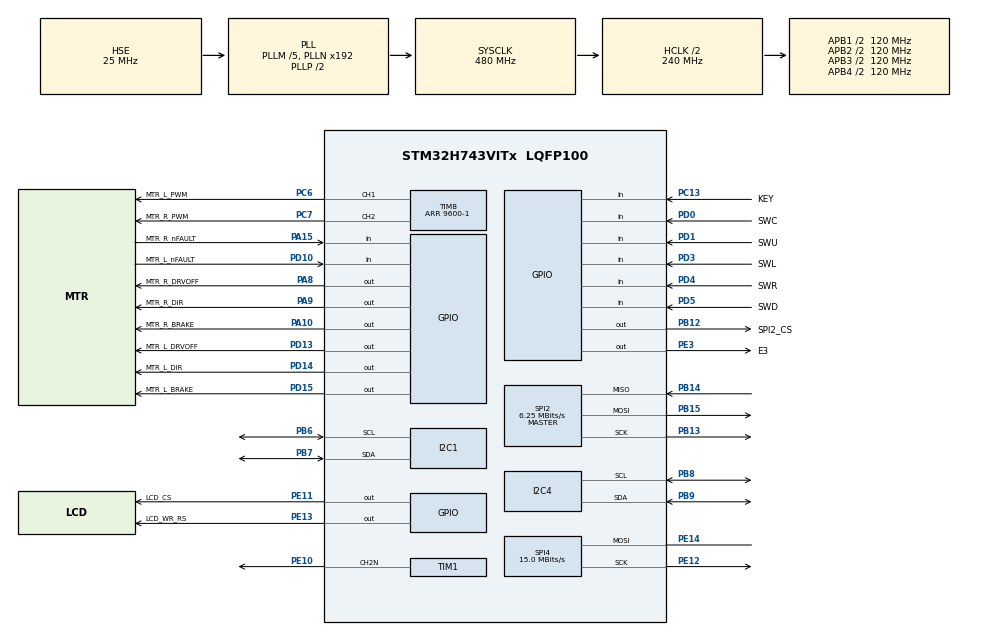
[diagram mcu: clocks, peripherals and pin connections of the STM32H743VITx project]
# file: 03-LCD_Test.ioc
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I2C1.Timing=0x307075B1
I2C4.Timing=0x307075B1
Mcu.Family=STM32H7
Mcu.Name=STM32H743VITx
Mcu.Package=LQFP100
NVIC.PriorityGroup=NVIC_PRIORITYGROUP_4
PA10.GPIO_Label=MTR_R_BRAKE
PA10.Signal=GPIO_Output
PA13\ (JTMS/SWDIO).Mode=Serial_Wire
PA13\ (JTMS/SWDIO).Signal=DEBUG_JTMS-SWDIO
PA14\ (JTCK/SWCLK).Mode=Serial_Wire
PA14\ (JTCK/SWCLK).Signal=DEBUG_JTCK-SWCLK
PA15\ (JTDI).GPIO_Label=MTR_R_nFAULT
PA15\ (JTDI).GPIO_PuPd=GPIO_PULLUP
PA15\ (JTDI).Signal=GPIO_Input
PA8.GPIO_Label=MTR_R_DRVOFF
PA8.Signal=GPIO_Output
PA9.GPIO_Label=MTR_R_DIR
PA9.Signal=GPIO_Output
PB12.GPIO_Label=SPI2_CS
PB12.Signal=GPIO_Output
PB13.Mode=Full_Duplex_Master
PB13.Signal=SPI2_SCK
PB14.Mode=Full_Duplex_Master
PB14.Signal=SPI2_MISO
PB15.Mode=Full_Duplex_Master
PB15.Signal=SPI2_MOSI
PB6.Mode=I2C
PB6.Signal=I2C1_SCL
PB7.Mode=I2C
PB7.Signal=I2C1_SDA
PB8.Mode=I2C
PB8.Signal=I2C4_SCL
PB9.Mode=I2C
PB9.Signal=I2C4_SDA
PC13.GPIO_Label=KEY
PC13.GPIO_PuPd=GPIO_PULLDOWN
PC13.Signal=GPIO_Input
PC14-OSC32_IN\ (OSC32_IN).Mode=LSE-External-Oscillator
PC14-OSC32_IN\ (OSC32_IN).Signal=RCC_OSC32_IN
PC15-OSC32_OUT\ (OSC32_OUT).Mode=LSE-External-Oscillator
PC15-OSC32_OUT\ (OSC32_OUT).Signal=RCC_OSC32_OUT
PC6.GPIO_Label=MTR_L_PWM
PC6.Signal=S_TIM8_CH1
PC7.GPIO_Label=MTR_R_PWM
PC7.Signal=S_TIM8_CH2
PD0.GPIO_Label=SWC
PD0.Signal=GPIO_Input
PD1.GPIO_Label=SWU
PD1.Signal=GPIO_Input
PD10.GPIO_Label=MTR_L_nFAULT
PD10.GPIO_PuPd=GPIO_PULLUP
PD10.Signal=GPIO_Input
PD13.GPIO_Label=MTR_L_DRVOFF
PD13.Signal=GPIO_Output
PD14.GPIO_Label=MTR_L_DIR
PD14.Signal=GPIO_Output
PD15.GPIO_Label=MTR_L_BRAKE
PD15.Signal=GPIO_Output
PD3.GPIO_Label=SWL
PD3.Signal=GPIO_Input
PD4.GPIO_Label=SWR
PD4.Signal=GPIO_Input
PD5.GPIO_Label=SWD
PD5.Signal=GPIO_Input
PE10.Mode=PWM Generation2 CH2N
PE10.Signal=TIM1_CH2N
PE11.GPIO_Label=LCD_CS
PE11.GPIO_Speed=GPIO_SPEED_FREQ_VERY_HIGH
PE11.PinState=GPIO_PIN_SET
PE11.Signal=GPIO_Output
PE12.GPIO_Speed=GPIO_SPEED_FREQ_HIGH
PE12.Mode=Simplex_Bidirectional_Master
PE12.Signal=SPI4_SCK
PE13.GPIO_Label=LCD_WR_RS
PE13.GPIO_Speed=GPIO_SPEED_FREQ_VERY_HIGH
PE13.PinState=GPIO_PIN_SET
PE13.Signal=GPIO_Output
PE14.GPIO_Speed=GPIO_SPEED_FREQ_HIGH
PE14.Mode=Simplex_Bidirectional_Master
PE14.Signal=SPI4_MOSI
PE3.GPIO_Label=E3
PE3.PinState=GPIO_PIN_RESET
PE3.Signal=GPIO_Output
PH0-OSC_IN\ (PH0).Mode=HSE-External-Oscillator
PH0-OSC_IN\ (PH0).Signal=RCC_OSC_IN
PH1-OSC_OUT\ (PH1).Mode=HSE-External-Oscillator
PH1-OSC_OUT\ (PH1).Signal=RCC_OSC_OUT
ProjectManager.HeapSize=0x200
ProjectManager.StackSize=0x400
ProjectManager.TargetToolchain=STM32CubeIDE
RCC.ADCFreq_Value=100000000
RCC.APB1Freq_Value=120000000
RCC.APB2Freq_Value=120000000
RCC.APB3Freq_Value=120000000
RCC.APB4Freq_Value=120000000
RCC.CortexFreq_Value=480000000
RCC.D1PPRE=RCC_APB3_DIV2
RCC.D2PPRE1=RCC_APB1_DIV2
RCC.D2PPRE2=RCC_APB2_DIV2
RCC.D3PPRE=RCC_APB4_DIV2
RCC.DIVM1=5
RCC.DIVM2=5
RCC.DIVN1=192
RCC.DIVN2=40
RCC.DIVQ2=1
RCC.HCLKFreq_Value=240000000
RCC.HPRE=RCC_HCLK_DIV2
RCC.HSE_VALUE=25000000
RCC.LSE_Timout=500
RCC.PLLFRACN=0
RCC.PLLSourceVirtual=RCC_PLLSOURCE_HSE
RCC.PWR_Regulator_Voltage_Scale=PWR_REGULATOR_VOLTAGE_SCALE0
RCC.RCC_TIM_PRescaler_Selection=RCC_TIMPRES_DESACTIVATED
RCC.RTCClockSelection=RCC_RTCCLKSOURCE_LSE
RCC.SPI123CLockSelection=RCC_SPI123CLKSOURCE_PLL2
RCC.SYSCLKFreq_VALUE=480000000
RCC.SYSCLKSource=RCC_SYSCLKSOURCE_PLLCLK
RCC.USBFreq_Value=480000000
SH.S_TIM8_CH1.0=TIM8_CH1,PWM Generation1 CH1
SH.S_TIM8_CH2.0=TIM8_CH2,PWM Generation2 CH2
SPI2.BaudRatePrescaler=SPI_BAUDRATEPRESCALER_16
SPI2.CalculateBaudRate=6.25 MBits/s
SPI2.DataSize=SPI_DATASIZE_8BIT
SPI2.Direction=SPI_DIRECTION_2LINES
SPI2.Mode=SPI_MODE_MASTER
SPI2.VirtualType=VM_MASTER
SPI4.BaudRatePrescaler=SPI_BAUDRATEPRESCALER_8
SPI4.CalculateBaudRate=15.0 MBits/s
SPI4.DataSize=SPI_DATASIZE_8BIT
SPI4.Direction=SPI_DIRECTION_1LINE
SPI4.Mode=SPI_MODE_MASTER
SPI4.VirtualType=VM_MASTER
TIM1.Channel-PWM\ Generation2\ CH2N=TIM_CHANNEL_2
TIM1.OCNPolarity_2=TIM_OCNPOLARITY_LOW
TIM1.Period=1000-1
TIM1.Prescaler=12-1
TIM8.AutomaticOutput=TIM_AUTOMATICOUTPUT_DISABLE
TIM8.Channel-PWM\ Generation1\ CH1=TIM_CHANNEL_1
TIM8.Channel-PWM\ Generation2\ CH2=TIM_CHANNEL_2
TIM8.Period=9600-1
VP_MEMORYMAP_VS_MEMORYMAP.Mode=CurAppReg
VP_TIM8_VS_ClockSourceINT.Mode=Internal
board=custom

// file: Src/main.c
/* USER CODE BEGIN Header */
/**
 ******************************************************************************
 * @file           : main.c
 * @brief          : Balance cube - reaction wheel flip test
 *
 *  스핀업 → 유지 → 점프(제동 또는 반전) → 자이로로 전달 임펄스 측정
 *  FLIP_MODE 매크로 하나만 바꿔서 두 방식을 비교합니다.
 ******************************************************************************
 */
/* USER CODE END Header */
#include "main.h"
#include "i2c.h"
#include "spi.h"
#include "tim.h"
#include "gpio.h"

/* USER CODE BEGIN Includes */
#include "lcd.h"
#include "lsm6ds3tr_c.h"
#include "mcf8316c.h"
#include <stdio.h>
#include <math.h>
/* USER CODE END Includes */

/* USER CODE BEGIN PD */

// ============================================================
// 실험 설정 — 여기만 바꿔가며 비교하세요
// ============================================================
#define FLIP_BRAKE          0   // 저측 단락 제동 (ΔL = Jω, 피크 토크 큼)
#define FLIP_REVERSE        1   // 역구동 반전   (ΔL = 2Jω, 영속도 구간 존재)

#define FLIP_MODE           FLIP_BRAKE   // ← 0 / 1 로 전환
//#define FLIP_MODE           FLIP_REVERSE   // ← 0 / 1 로 전환

#define SPINUP_START        20.0f   // 시동 지령 (핸드오프 임계 10%보다 위)
#define SPINUP_TARGET       55.0f   // 목표 지령
#define RAMP_STEP           5.0f    // 램프 1스텝
#define RAMP_PERIOD_MS      200     // 램프 주기
#define HANDOFF_WAIT_MS     1000    // 시동 후 클로즈드 루프 안착 대기
#define HOLD_MS             1000    // 목표 도달 후 유지 시간
#define POST_FLIP_MS        1000    // 점프 후 자이로 관측 시간

#define LOOP_PERIOD_MS      20      // 메인 루프 주기 (점프 순간 분해능)
#define LCD_PERIOD_MS       200     // LCD 갱신 주기 (SPI가 느려서 분리)

#define SPIN_DIR            0       // 0 = CW, 1 = CCW

/* USER CODE END PD */

void SystemClock_Config(void);

/* USER CODE BEGIN PFP */
typedef enum {
	ST_SPINUP = 0, ST_HANDOFF, ST_RAMP, ST_HOLD, ST_FLIP, ST_DONE
} FlipState_t;

static const char *state_name[] = { "SPINUP", "HANDOFF", "RAMP", "HOLD", "FLIP",
		"DONE" };
/* USER CODE END PFP */

/* USER CODE BEGIN 0 */
void ExitRun0Mode(void) {
}

// ------------------------------------------------------------
// 브레이크 GPIO — 실장된 채널만 제어 (L쪽 미실장)
// ------------------------------------------------------------
static void Brake_Pin_Set(GPIO_PinState s) {
	HAL_GPIO_WritePin(MTR_R_BRAKE_GPIO_Port, MTR_R_BRAKE_Pin, s);
}

// ------------------------------------------------------------
// 자이로 Z축 각속도 [dps]
//
// TODO: lsm6ds3tr_c 드라이버의 실제 함수명으로 채우세요.
//       (프로젝트마다 API가 달라 임의로 호출하지 않았습니다)
//       예) int16_t raw[3]; LSM6DS3TR_C_GetGyro(raw);
//           return raw[2] * 0.070f;   // ±2000dps 설정 시 70 mdps/LSB
//
// 이 함수를 채우기 전까지는 항상 0을 반환하므로
// LCD의 PK 값은 0으로 표시됩니다. 나머지 동작에는 영향 없습니다.
// ------------------------------------------------------------
static float Gyro_ReadZ_dps(void) {
	return 0.0f;
}

// ------------------------------------------------------------
// 점프 동작 — 두 방식 중 하나 실행
// ------------------------------------------------------------
static void Flip_Execute(void) {
#if (FLIP_MODE == FLIP_BRAKE)
	// GPIO가 가장 빠르므로 먼저, I2C 경로는 보조로
	Brake_Pin_Set(GPIO_PIN_SET);
	MCF8316C_Set_Speed(0.0f);
	MCF8316C_Brake(1);
#else
	// DIR_CHANGE_MODE_REVERSE_DRIVE 이므로 재시동 없이 역구동으로 통과한다.
	// 속도 지령 크기는 그대로 두고 방향만 뒤집는다.
	MCF8316C_SetDir(1);
	MCF8316C_Set_Speed(SPINUP_TARGET);
#endif
}
/* USER CODE END 0 */

int main(void) {

	/* MCU Configuration--------------------------------------------------------*/
	HAL_Init();
	SystemClock_Config();

	/* Initialize all configured peripherals */
	MX_GPIO_Init();
	MX_SPI4_Init();
	MX_TIM1_Init();
	MX_I2C1_Init();
	MX_SPI2_Init();
	MX_TIM8_Init();
	MX_I2C4_Init();

	/* USER CODE BEGIN 2 */
	// 제동 해제 상태로 시작 — HIGH로 떠 있으면 모터가 아예 안 돈다
	Brake_Pin_Set(GPIO_PIN_RESET);

	LCD_Test();
	HAL_Delay(500);

	char lcd_buf[32];

	// ==========================================================
	// 1. 칩 Wake-Up (SPEED 핀 HIGH 유지)
	// ==========================================================
	HAL_TIM_PWM_Start(&htim8, TIM_CHANNEL_1);
	__HAL_TIM_SET_COMPARE(&htim8, TIM_CHANNEL_1,
			__HAL_TIM_GET_AUTORELOAD(&htim8));
	HAL_Delay(100);

	ST7735_LCD_Driver.FillRect(&st7735_pObj, 0, 0, ST7735Ctx.Width,
			ST7735Ctx.Height, BLACK);

	// ==========================================================
	// 2. I2C 주소 확인 (기본 0x02 우선, 실패 시 스캔)
	// ==========================================================
	sprintf(lcd_buf, "I2C Scanning...");
	LCD_ShowString(2, 4, ST7735Ctx.Width, 16, 16, (uint8_t*) lcd_buf);

	uint8_t found_addr = MCF8316C_FindAddress();
	if (found_addr == 0) {
		sprintf(lcd_buf, "I2C Not Found!");
		LCD_ShowString(2, 22, ST7735Ctx.Width, 16, 16, (uint8_t*) lcd_buf);
		while (1)
			;
	}
	mcf_i2c_addr_8bit = found_addr;
	sprintf(lcd_buf, "Found: 0x%02X", found_addr);
	LCD_ShowString(2, 22, ST7735Ctx.Width, 16, 16, (uint8_t*) lcd_buf);
	HAL_Delay(500);

	// ==========================================================
	// 3. 레지스터 설정
	// ==========================================================
	sprintf(lcd_buf, "Configuring...");
	LCD_ShowString(2, 40, ST7735Ctx.Width, 16, 16, (uint8_t*) lcd_buf);

	MCF8316C_Clear_Faults();
	HAL_Delay(100);

	MCF8316C_Config_Manual();
	uint32_t fc1_check = MCF8316C_ReadReg32(REG_FAULT_CONFIG1);
	sprintf(lcd_buf, "FC1 %08lX", fc1_check);
	LCD_ShowString(2, 58, ST7735Ctx.Width, 16, 16, (uint8_t*) lcd_buf);
	HAL_Delay(1000);

	if (MCF8316C_ReadReg32(REG_DEVICE_CONFIG1) == 0) {
		sprintf(lcd_buf, "I2C READ FAIL!");
		LCD_ShowString(2, 58, ST7735Ctx.Width, 16, 16, (uint8_t*) lcd_buf);
		while (1)
			;
	}

	// 회전 방향을 명시적으로 고정 (반전 모드에서 기준점이 필요)
	MCF8316C_SetDir(SPIN_DIR);
	HAL_Delay(20);

	// ==========================================================
	// 4. 클로즈드 루프 활성화
	// ==========================================================
	uint32_t algo_dbg1 = MCF8316C_ReadReg32(REG_ALGO_DEBUG1);
	algo_dbg1 &= ~CLOSED_LOOP_DIS;
	MCF8316C_WriteReg32(REG_ALGO_DEBUG1, algo_dbg1);
	HAL_Delay(100);

	ST7735_LCD_Driver.FillRect(&st7735_pObj, 0, 0, ST7735Ctx.Width,
			ST7735Ctx.Height, BLACK);
	/* USER CODE END 2 */

	// ==========================================================
	// 5. 상태 머신
	// ==========================================================
	FlipState_t state = ST_SPINUP;
	float current_speed = 0.0f;

	uint32_t t_state = HAL_GetTick();   // 현재 상태 진입 시각
	uint32_t t_ramp = HAL_GetTick();    // 마지막 램프 스텝 시각
	uint32_t t_lcd = 0;                 // 마지막 LCD 갱신 시각
	uint32_t t_flip = 0;                // 점프 실행 시각

	uint32_t first_fault_c = 0;         // 처음 잡힌 컨트롤러 폴트
	uint32_t first_fault_g = 0;         // 처음 잡힌 게이트 드라이버 폴트
	float first_fault_spd = 0.0f;

	float gyro_peak = 0.0f;             // 점프 후 자이로 피크 [dps]

	/* Infinite loop */
	/* USER CODE BEGIN WHILE */
	while (1) {
		uint32_t now = HAL_GetTick();

		// ---------- 상태 전이 ----------
		switch (state) {

		case ST_SPINUP:
			// 고정 지령으로 시동을 건다 (여기서 지령을 흔들면 정렬이 리셋됨)
			current_speed = SPINUP_START;
			MCF8316C_Set_Speed(current_speed);
			state = ST_HANDOFF;
			t_state = now;
			break;

		case ST_HANDOFF:
			// 정렬(500ms) + 오픈루프 가속 + 클로즈드 루프 핸드오프 완료 대기
			if (now - t_state >= HANDOFF_WAIT_MS) {
				state = ST_RAMP;
				t_state = now;
				t_ramp = now;
			}
			break;

		case ST_RAMP:
			if (now - t_ramp >= RAMP_PERIOD_MS) {
				t_ramp = now;
				current_speed += RAMP_STEP;
				if (current_speed >= SPINUP_TARGET) {
					current_speed = SPINUP_TARGET;
					state = ST_HOLD;
					t_state = now;
				}
				MCF8316C_Set_Speed(current_speed);
			}
			break;

		case ST_HOLD:
			// 목표 속도에서 안정화될 시간을 준다
			if (now - t_state >= HOLD_MS) {
				Flip_Execute();
				t_flip = now;
				state = ST_FLIP;
				t_state = now;
			}
			break;

		case ST_FLIP:
			// 점프 직후 구간 — 자이로 피크를 잡는다
			{
				float w = Gyro_ReadZ_dps();
				if (fabsf(w) > fabsf(gyro_peak))
					gyro_peak = w;
			}
			if (now - t_state >= POST_FLIP_MS) {
				state = ST_DONE;
				t_state = now;
			}
			break;

		case ST_DONE:
		default:
			// 아무것도 하지 않고 결과만 표시한다
			break;
		}

		// ---------- 폴트 감시 (매 루프) ----------
		MCF8316C_FaultStatus_t faults = { 0 };
		MCF8316C_Read_Faults(&faults);

		if (first_fault_c == 0 && faults.controller_fault != 0) {
			first_fault_c = faults.controller_fault;
			first_fault_spd = current_speed;
		}
		if (first_fault_g == 0 && faults.gate_driver_fault != 0) {
			first_fault_g = faults.gate_driver_fault;
		}

		// ---------- LCD (모든 줄 y <= 58) ----------
		if (now - t_lcd >= LCD_PERIOD_MS || state == ST_DONE) {
			t_lcd = now;

			sprintf(lcd_buf, "%-7s %5.1f%%", state_name[state], current_speed);
			LCD_ShowString(2, 4, ST7735Ctx.Width, 16, 16, (uint8_t*) lcd_buf);

			sprintf(lcd_buf, "C %08lX", faults.controller_fault);
			LCD_ShowString(2, 22, ST7735Ctx.Width, 16, 16, (uint8_t*) lcd_buf);

			sprintf(lcd_buf, "G %08lX", faults.gate_driver_fault);
			LCD_ShowString(2, 40, ST7735Ctx.Width, 16, 16, (uint8_t*) lcd_buf);

			if (state >= ST_FLIP) {
				// 점프 후: 자이로 피크와 점프 이후 경과 시간
				sprintf(lcd_buf, "PK%6.0f  %4lums", gyro_peak, now - t_flip);
			} else {
				// 점프 전: 처음 잡힌 폴트
				sprintf(lcd_buf, "1st %08lX@%2.0f", first_fault_c,
						first_fault_spd);
			}
			LCD_ShowString(2, 58, ST7735Ctx.Width, 16, 16, (uint8_t*) lcd_buf);
		}

		HAL_Delay(LOOP_PERIOD_MS);
		/* USER CODE END WHILE */
	}
	/* USER CODE END 3 */
}

void SystemClock_Config(void) {
	RCC_OscInitTypeDef RCC_OscInitStruct = { 0 };
	RCC_ClkInitTypeDef RCC_ClkInitStruct = { 0 };

	HAL_PWREx_ConfigSupply(PWR_LDO_SUPPLY);
	__HAL_PWR_VOLTAGESCALING_CONFIG(PWR_REGULATOR_VOLTAGE_SCALE0);

	while (!__HAL_PWR_GET_FLAG(PWR_FLAG_VOSRDY)) {
	}

	RCC_OscInitStruct.OscillatorType = RCC_OSCILLATORTYPE_HSE;
	RCC_OscInitStruct.HSEState = RCC_HSE_ON;
	RCC_OscInitStruct.PLL.PLLState = RCC_PLL_ON;
	RCC_OscInitStruct.PLL.PLLSource = RCC_PLLSOURCE_HSE;
	RCC_OscInitStruct.PLL.PLLM = 5;
	RCC_OscInitStruct.PLL.PLLN = 192;
	RCC_OscInitStruct.PLL.PLLP = 2;
	RCC_OscInitStruct.PLL.PLLQ = 2;
	RCC_OscInitStruct.PLL.PLLR = 2;
	RCC_OscInitStruct.PLL.PLLRGE = RCC_PLL1VCIRANGE_2;
	RCC_OscInitStruct.PLL.PLLVCOSEL = RCC_PLL1VCOWIDE;
	RCC_OscInitStruct.PLL.PLLFRACN = 0;
	if (HAL_RCC_OscConfig(&RCC_OscInitStruct) != HAL_OK) {
		Error_Handler();
	}

	RCC_ClkInitStruct.ClockType = RCC_CLOCKTYPE_HCLK | RCC_CLOCKTYPE_SYSCLK
			| RCC_CLOCKTYPE_PCLK1 | RCC_CLOCKTYPE_PCLK2 | RCC_CLOCKTYPE_D3PCLK1
			| RCC_CLOCKTYPE_D1PCLK1;
	RCC_ClkInitStruct.SYSCLKSource = RCC_SYSCLKSOURCE_PLLCLK;
	RCC_ClkInitStruct.SYSCLKDivider = RCC_SYSCLK_DIV1;
	RCC_ClkInitStruct.AHBCLKDivider = RCC_HCLK_DIV2;
	RCC_ClkInitStruct.APB3CLKDivider = RCC_APB3_DIV2;
	RCC_ClkInitStruct.APB1CLKDivider = RCC_APB1_DIV2;
	RCC_ClkInitStruct.APB2CLKDivider = RCC_APB2_DIV2;
	RCC_ClkInitStruct.APB4CLKDivider = RCC_APB4_DIV2;

	if (HAL_RCC_ClockConfig(&RCC_ClkInitStruct, FLASH_LATENCY_4) != HAL_OK) {
		Error_Handler();
	}
}

void Error_Handler(void) {
	__disable_irq();
	while (1) {
	}
}
